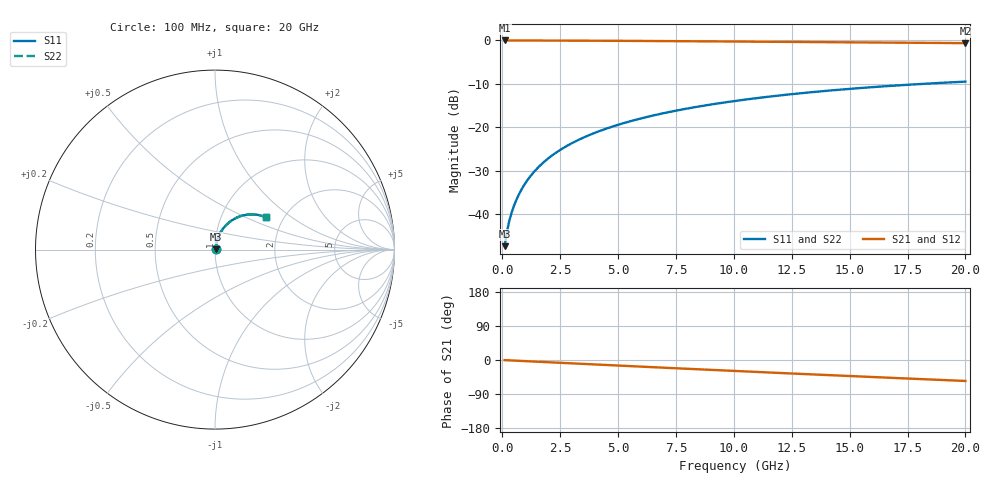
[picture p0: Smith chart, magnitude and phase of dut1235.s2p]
! Touchstone file exported from HFSS 2026.1.0
!  File:  C:/ffzhzh/LocalFiles/Ansys_Project_Files/temp_train_BSMRDL_1235_1783177053_51560.aedt
!  Generated:  10:58:54 PM Jul  4, 2026
!  Design:  BSMRDL
!  Project:  temp_train_BSMRDL_1235_1783177053_51560
! Variables:
!  h_bsmrdl = 3.59um
!  h_ox = 20um
!  h_rdl = 5um
!  h_sub = 80um
!  h_tmrdl = 5um
!  h_tsv = 80um
!  h_via = 3um
!  l_bsmrdl = 907.4um
!  l_sub = 1307.4um
!  l_tmrdl = 200um
!  m_sub = 200um
!  pitch = 46.77um
!  r_tsv = 6um
!  s_tmrdl = 10um
!  w_bsmrdl = 28.96um
!  w_sub = 500um
!  w_tmrdl = 12um
!  x_tsv_center1 = 206um
!  x_tsv_center2 = 1142.36um
!  x_tsv_center3 = 1354.36um
!  x_tsv_center4 = 2290.72um
!  x_tsv_center5 = 2502.72um
!  x_tsv_center6 = 3439.08um
# GHz S MA R 50.000000
! Terminal data exported
! Port[1] = BSM_RDL1_1_T1
! Port[2] = BSM_RDL1_1_T2
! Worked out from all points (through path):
!   200 points, 100 MHz to 20 GHz, reference 50 ohm
!   highest |S21| = -0.03 dB at 100 MHz (marker M1); lowest = -0.6 dB at 20 GHz (marker M2)
!   group delay of S21, straight-line fit = 7.68 ps
!   lowest |S11| = -47.3 dB at 100 MHz (marker M3), VSWR 1.01, Z = 50.3 + j0.265 ohm
!   |S11| at or under -10 dB: start of sweep to 18.19 GHz
!   |S22| runs from -47.3 to -9.5 dB; largest |S21 - S12| = 5.6e-15
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0.1  0.004304 37.7  0.9966 -0.3  0.9966 -0.3  0.004304 37.7
! Gamma 0 0 0 0
! Port Impedance 50 0 50 0
0.2  0.006296 53.3  0.9963 -0.6  0.9963 -0.6  0.006296 53.3
0.3  0.00836 60.5  0.996 -0.9  0.996 -0.9  0.00836 60.5
0.4  0.0104 64.9  0.9957 -1.2  0.9957 -1.2  0.0104 64.9
0.5  0.01244 67.9  0.9956 -1.5  0.9956 -1.5  0.01244 67.9
0.6  0.01449 70.2  0.9954 -1.8  0.9954 -1.8  0.01449 70.2
0.8  0.01865 73.3  0.9952 -2.4  0.9952 -2.4  0.01865 73.3
1.1  0.025 75.7  0.9949 -3.3  0.9949 -3.3  0.025 75.7
1.3  0.02926 76.5  0.9947 -3.9  0.9947 -3.9  0.02927 76.5
1.6  0.0357 77.2  0.9944 -4.8  0.9944 -4.8  0.0357 77.2
2.1  0.04642 77.2  0.9937 -6.2  0.9937 -6.2  0.04643 77.2
2.7  0.05924 76.5  0.9926 -8.0  0.9926 -8.0  0.05924 76.5
3.5  0.07612 75.0  0.9909 -10.3  0.9909 -10.3  0.07612 75.0
4.2  0.09065 73.4  0.9892 -12.4  0.9892 -12.4  0.09066 73.4
5  0.1069 71.4  0.9869 -14.7  0.9869 -14.7  0.1069 71.4
5.9  0.1248 69.0  0.9841 -17.3  0.9841 -17.3  0.1248 69.0
6.8  0.1423 66.6  0.9811 -19.8  0.9811 -19.8  0.1423 66.6
8.3  0.1702 62.6  0.9756 -24.1  0.9756 -24.1  0.1702 62.6
10.1  0.2018 57.9  0.9685 -29.1  0.9685 -29.1  0.2018 57.9
13.4  0.2541 49.2  0.9549 -38.1  0.9549 -38.1  0.2542 49.2
16.7  0.2987 40.8  0.9412 -46.8  0.9412 -46.8  0.2988 40.8
20  0.3352 32.5  0.9284 -55.3  0.9284 -55.3  0.3353 32.5
